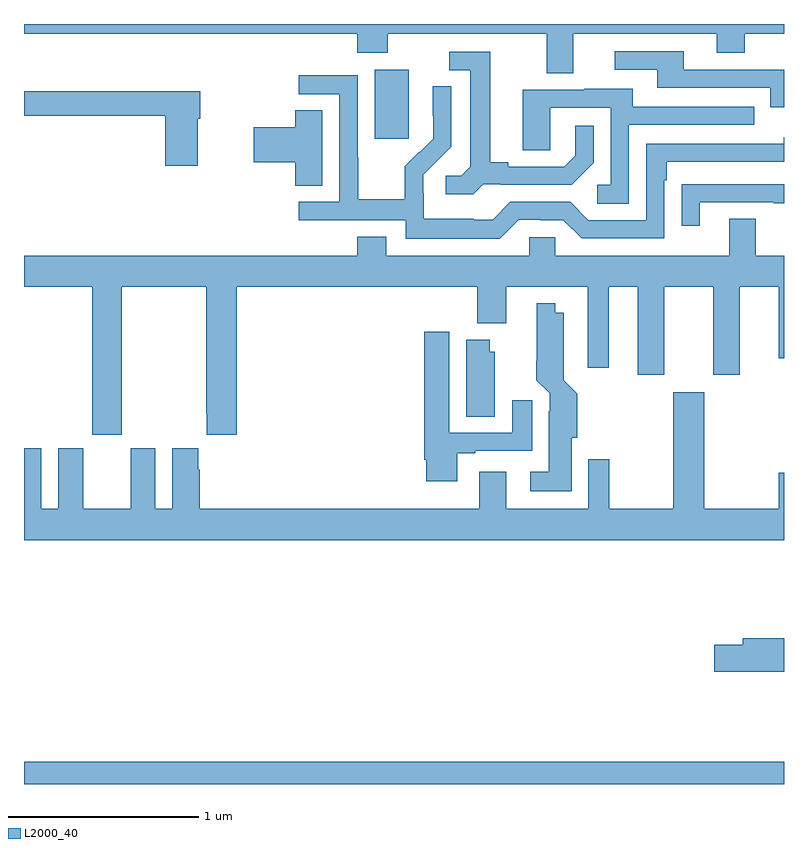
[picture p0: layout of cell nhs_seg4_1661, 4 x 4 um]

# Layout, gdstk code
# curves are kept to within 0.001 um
import gdstk
lib = gdstk.Library(unit=1e-6, precision=1e-09)
def R(c, l, rs):  # rectangles x0, y0, x1, y1
    for r in rs: c.add(gdstk.rectangle(r[:2], r[2:], *l))
def P(c, l, *ps):  # polygons
    for p in ps: c.add(gdstk.Polygon(p, *l))
L2000_40 = (2000, 40)

nhs_seg4_1661 = lib.new_cell('nhs_seg4_1661')
R(nhs_seg4_1661, L2000_40, [(197,764.9,201,765.016), (198.845,768.297,199.024,768.658)])
P(nhs_seg4_1661, L2000_40, [(199.891,768.848),(200.645,768.848),(200.645,768.749),(200.793,768.749),(200.793,768.848),(201,768.848),(201,768.9),(197,768.9),(197,768.848),(198.755,768.848),(198.755,768.749),(198.915,768.749),(198.915,768.848),(199.751,768.848),(199.751,768.64),(199.891,768.64)],
  [(201,768.66),(200.473,768.66),(200.473,768.756),(200.109,768.756),(200.109,768.66),(200.333,768.66),(200.333,768.564),(200.928,768.564),(200.928,768.461),(201,768.461)],
  [(199.416,768.057),(199.51,768.057),(199.51,768.054),(199.882,768.054),(199.998,768.17),(199.998,768.364),(199.901,768.364),(199.901,768.207),(199.844,768.15),(199.549,768.15),(199.549,768.173),(199.453,768.173),(199.453,768.753),(199.239,768.753),(199.239,768.657),(199.349,768.657),(199.349,768.149),(199.302,768.102),(199.221,768.102),(199.221,768.005),(199.364,768.005)],
  [(199.605,767.871),(199.721,767.871),(199.721,767.868),(199.839,767.868),(199.935,767.772),(200.37,767.772),(200.37,768.077),(200.383,768.077),(200.383,768.174),(201,768.174),(201,768.304),(200.999,768.27),(200.274,768.27),(200.274,767.868),(199.971,767.868),(199.875,767.964),(199.56,767.964),(199.467,767.871),(199.367,767.871),(199.367,767.875),(199.104,767.875),(199.104,768.009),(199.102,768.009),(199.102,768.106),(199.248,768.254),(199.248,768.572),(199.152,768.572),(199.152,768.418),(199.154,768.418),(199.154,768.296),(199.083,768.225),(199.08,768.228),(199.003,768.151),(199.003,767.977),(198.759,767.977),(198.759,768.2),(198.756,768.2),(198.756,768.63),(198.447,768.63),(198.447,768.531),(198.66,768.531),(198.66,767.964),(198.447,767.964),(198.447,767.868),(199.008,767.868),(199.008,767.771),(199.505,767.771)],
  [(200.184,768.369),(200.843,768.369),(200.843,768.465),(200.203,768.465),(200.203,768.559),(199.949,768.559),(199.949,768.555),(199.625,768.555),(199.625,768.235),(199.77,768.235),(199.77,768.459),(200.088,768.459),(200.088,768.054),(200.016,768.054),(200.016,767.953),(200.184,767.953)],
  [(197.914,768.401),(197.927,768.401),(197.927,768.547),(197,768.547),(197,768.418),(197.744,768.418),(197.744,768.153),(197.914,768.153)],
  [(198.571,768.446),(198.428,768.446),(198.428,768.356),(198.21,768.356),(198.21,768.173),(198.428,768.173),(198.428,768.049),(198.571,768.049)],
  [(200.557,767.961),(200.947,767.961),(200.947,767.956),(201,767.956),(201,768.057),(200.563,768.057),(200.563,768.056),(200.461,768.056),(200.461,767.838),(200.557,767.838)],
  [(197.514,767.516),(197.959,767.516),(197.959,766.849),(197.963,766.849),(197.963,766.737),(198.119,766.737),(198.119,767.516),(199.385,767.516),(199.385,767.324),(199.537,767.324),(199.537,767.516),(199.967,767.516),(199.967,767.091),(200.077,767.091),(200.077,767.516),(200.231,767.516),(200.231,767.055),(200.371,767.055),(200.371,767.516),(200.627,767.516),(200.627,767.055),(200.767,767.055),(200.767,767.516),(200.972,767.516),(200.972,767.142),(201,767.142),(201,767.68),(200.851,767.68),(200.851,767.875),(200.711,767.875),(200.711,767.68),(199.797,767.68),(199.797,767.778),(199.659,767.778),(199.659,767.68),(198.907,767.68),(198.907,767.779),(198.755,767.779),(198.755,767.68),(197,767.68),(197,767.516),(197.359,767.516),(197.359,766.737),(197.514,766.737)],
  [(199.882,766.722),(199.913,766.722),(199.913,766.954),(199.841,767.026),(199.84,767.38),(199.795,767.38),(199.795,767.431),(199.698,767.431),(199.697,767.026),(199.767,766.956),(199.767,766.862),(199.763,766.862),(199.763,766.543),(199.665,766.543),(199.665,766.442),(199.882,766.442)],
  [(199.279,766.641),(199.375,766.641),(199.375,766.653),(199.675,766.653),(199.675,766.921),(199.571,766.921),(199.571,766.749),(199.237,766.749),(199.237,767.281),(199.106,767.281),(199.106,766.606),(199.118,766.606),(199.118,766.494),(199.279,766.494)],
  [(199.477,767.175),(199.45,767.175),(199.45,767.239),(199.328,767.239),(199.328,766.834),(199.477,766.834)],
  [(201,766.537),(200.972,766.537),(200.972,766.348),(200.581,766.348),(200.581,766.963),(200.417,766.963),(200.417,766.348),(200.08,766.348),(200.08,766.609),(199.971,766.609),(199.971,766.348),(199.537,766.348),(199.537,766.543),(199.397,766.543),(199.397,766.348),(197.924,766.348),(197.924,766.553),(197.917,766.553),(197.917,766.666),(197.78,766.666),(197.78,766.348),(197.692,766.348),(197.692,766.666),(197.561,766.666),(197.561,766.348),(197.311,766.348),(197.311,766.666),(197.18,766.666),(197.18,766.348),(197.092,766.348),(197.092,766.666),(197,766.666),(197,766.184),(201,766.184)],
  [(201,765.668),(200.783,765.668),(200.783,765.632),(200.634,765.632),(200.634,765.49),(201,765.49)])

lib.write_gds('nhs_seg4_1661.gds')
